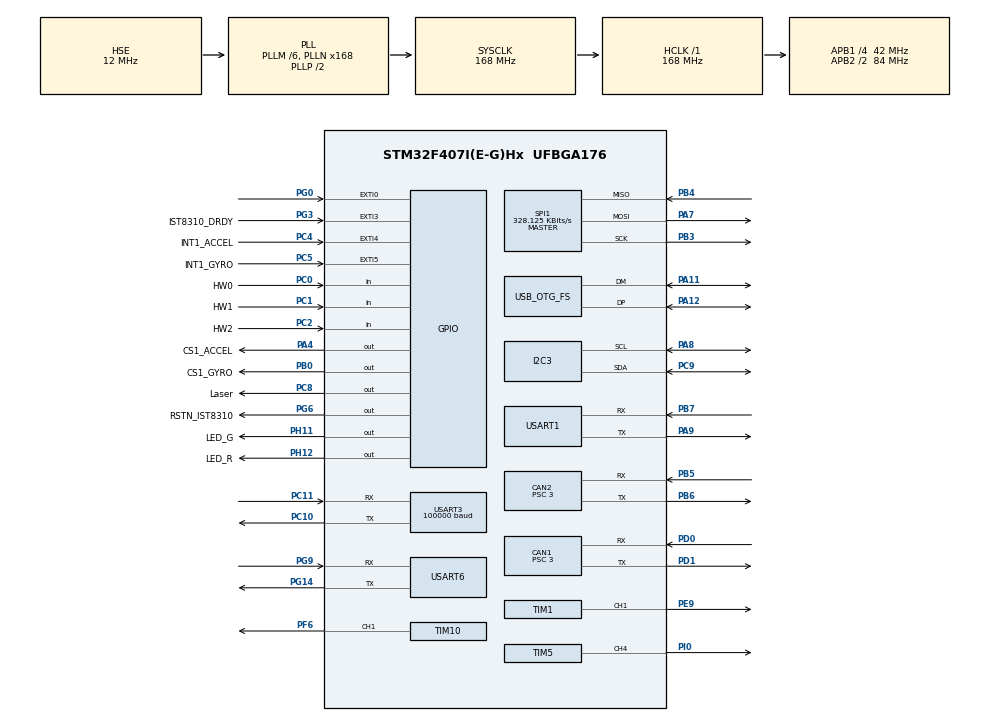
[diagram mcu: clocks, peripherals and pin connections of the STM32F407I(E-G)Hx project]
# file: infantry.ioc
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ADC1.Channel-0\#ChannelRegularConversion=ADC_CHANNEL_VREFINT
ADC1.NbrOfConversionFlag=1
ADC1.Rank-0\#ChannelRegularConversion=1
ADC1.SamplingTime-0\#ChannelRegularConversion=ADC_SAMPLETIME_3CYCLES
ADC1.master=1
CAN1.BS1=CAN_BS1_10TQ
CAN1.BS2=CAN_BS2_3TQ
CAN1.CalculateBaudRate=1000000
CAN1.CalculateTimeBit=1000
CAN1.CalculateTimeQuantum=71.42857142857143
CAN1.Prescaler=3
CAN1.TTCM=DISABLE
CAN2.BS1=CAN_BS1_10TQ
CAN2.BS2=CAN_BS2_3TQ
CAN2.CalculateBaudRate=1000000
CAN2.CalculateTimeBit=1000
CAN2.CalculateTimeQuantum=71.42857142857143
CAN2.Prescaler=3
CAN2.TTCM=DISABLE
Dma.Request0=USART3_RX
Dma.Request1=SPI1_RX
Dma.Request2=SPI1_TX
Dma.Request3=USART6_RX
Dma.Request4=USART1_RX
Dma.Request5=USART1_TX
Dma.Request6=USART6_TX
Dma.SPI1_RX.1.Direction=DMA_PERIPH_TO_MEMORY
Dma.SPI1_RX.1.FIFOMode=DMA_FIFOMODE_DISABLE
Dma.SPI1_RX.1.Instance=DMA2_Stream2
Dma.SPI1_RX.1.MemDataAlignment=DMA_MDATAALIGN_BYTE
Dma.SPI1_RX.1.MemInc=DMA_MINC_ENABLE
Dma.SPI1_RX.1.Mode=DMA_NORMAL
Dma.SPI1_RX.1.PeriphDataAlignment=DMA_PDATAALIGN_BYTE
Dma.SPI1_RX.1.PeriphInc=DMA_PINC_DISABLE
Dma.SPI1_RX.1.Priority=DMA_PRIORITY_VERY_HIGH
Dma.SPI1_TX.2.Direction=DMA_MEMORY_TO_PERIPH
Dma.SPI1_TX.2.FIFOMode=DMA_FIFOMODE_DISABLE
Dma.SPI1_TX.2.Instance=DMA2_Stream3
Dma.SPI1_TX.2.MemDataAlignment=DMA_MDATAALIGN_BYTE
Dma.SPI1_TX.2.MemInc=DMA_MINC_ENABLE
Dma.SPI1_TX.2.Mode=DMA_NORMAL
Dma.SPI1_TX.2.PeriphDataAlignment=DMA_PDATAALIGN_BYTE
Dma.SPI1_TX.2.PeriphInc=DMA_PINC_DISABLE
Dma.SPI1_TX.2.Priority=DMA_PRIORITY_HIGH
Dma.USART1_RX.4.Direction=DMA_PERIPH_TO_MEMORY
Dma.USART1_RX.4.FIFOMode=DMA_FIFOMODE_DISABLE
Dma.USART1_RX.4.Instance=DMA2_Stream5
Dma.USART1_RX.4.MemDataAlignment=DMA_MDATAALIGN_BYTE
Dma.USART1_RX.4.MemInc=DMA_MINC_ENABLE
Dma.USART1_RX.4.Mode=DMA_NORMAL
Dma.USART1_RX.4.PeriphDataAlignment=DMA_PDATAALIGN_BYTE
Dma.USART1_RX.4.PeriphInc=DMA_PINC_DISABLE
Dma.USART1_RX.4.Priority=DMA_PRIORITY_LOW
Dma.USART1_TX.5.Direction=DMA_MEMORY_TO_PERIPH
Dma.USART1_TX.5.FIFOMode=DMA_FIFOMODE_DISABLE
Dma.USART1_TX.5.Instance=DMA2_Stream7
Dma.USART1_TX.5.MemDataAlignment=DMA_MDATAALIGN_BYTE
Dma.USART1_TX.5.MemInc=DMA_MINC_ENABLE
Dma.USART1_TX.5.Mode=DMA_NORMAL
Dma.USART1_TX.5.PeriphDataAlignment=DMA_PDATAALIGN_BYTE
Dma.USART1_TX.5.PeriphInc=DMA_PINC_DISABLE
Dma.USART1_TX.5.Priority=DMA_PRIORITY_LOW
Dma.USART3_RX.0.Direction=DMA_PERIPH_TO_MEMORY
Dma.USART3_RX.0.FIFOMode=DMA_FIFOMODE_DISABLE
Dma.USART3_RX.0.Instance=DMA1_Stream1
Dma.USART3_RX.0.MemDataAlignment=DMA_MDATAALIGN_BYTE
Dma.USART3_RX.0.MemInc=DMA_MINC_ENABLE
Dma.USART3_RX.0.Mode=DMA_CIRCULAR
Dma.USART3_RX.0.PeriphDataAlignment=DMA_PDATAALIGN_BYTE
Dma.USART3_RX.0.PeriphInc=DMA_PINC_DISABLE
Dma.USART3_RX.0.Priority=DMA_PRIORITY_VERY_HIGH
Dma.USART6_RX.3.Direction=DMA_PERIPH_TO_MEMORY
Dma.USART6_RX.3.FIFOMode=DMA_FIFOMODE_DISABLE
Dma.USART6_RX.3.Instance=DMA2_Stream1
Dma.USART6_RX.3.MemDataAlignment=DMA_MDATAALIGN_BYTE
Dma.USART6_RX.3.MemInc=DMA_MINC_ENABLE
Dma.USART6_RX.3.Mode=DMA_CIRCULAR
Dma.USART6_RX.3.PeriphDataAlignment=DMA_PDATAALIGN_BYTE
Dma.USART6_RX.3.PeriphInc=DMA_PINC_DISABLE
Dma.USART6_RX.3.Priority=DMA_PRIORITY_VERY_HIGH
Dma.USART6_TX.6.Direction=DMA_MEMORY_TO_PERIPH
Dma.USART6_TX.6.FIFOMode=DMA_FIFOMODE_DISABLE
Dma.USART6_TX.6.Instance=DMA2_Stream6
Dma.USART6_TX.6.MemDataAlignment=DMA_MDATAALIGN_BYTE
Dma.USART6_TX.6.MemInc=DMA_MINC_ENABLE
Dma.USART6_TX.6.Mode=DMA_NORMAL
Dma.USART6_TX.6.PeriphDataAlignment=DMA_PDATAALIGN_BYTE
Dma.USART6_TX.6.PeriphInc=DMA_PINC_DISABLE
Dma.USART6_TX.6.Priority=DMA_PRIORITY_MEDIUM
FREERTOS.INCLUDE_eTaskGetState=1
FREERTOS.INCLUDE_pcTaskGetTaskName=1
FREERTOS.INCLUDE_uxTaskGetStackHighWaterMark=1
FREERTOS.INCLUDE_vTaskCleanUpResources=1
FREERTOS.INCLUDE_vTaskDelayUntil=1
FREERTOS.INCLUDE_xEventGroupSetBitFromISR=1
FREERTOS.INCLUDE_xQueueGetMutexHolder=1
FREERTOS.INCLUDE_xSemaphoreGetMutexHolder=1
FREERTOS.INCLUDE_xTaskAbortDelay=1
FREERTOS.INCLUDE_xTaskGetCurrentTaskHandle=1
FREERTOS.INCLUDE_xTaskGetHandle=1
FREERTOS.INCLUDE_xTimerPendFunctionCall=1
FREERTOS.Tasks01=defaultTask,0,128,StartDefaultTask,Default,NULL,Dynamic,NULL,NULL;ChassisTask,0,128,chassis_Task,As external,NULL,Dynamic,NULL,NULL;GimbalTask,0,128,gimbal_task,As external,NULL,Dynamic,NULL,NULL;SensorTask,2,128,Sensor_task,As external,NULL,Dynamic,NULL,NULL;ShootTask,0,128,shoot_task,As external,NULL,Dynamic,NULL,NULL;press_time,-1,128,PressTime,As external,NULL,Dynamic,NULL,NULL;AutoAimTask,0,128,auto_aim_task,As external,NULL,Dynamic,NULL,NULL;Supercap_Task,0,128,supercap_task,As external,NULL,Dynamic,NULL,NULL;RefereeUsartTas,0,256,referee_usart_task,As external,NULL,Dynamic,NULL,NULL;BTtask,0,128,BT_task,As external,NULL,Dynamic,NULL,NULL
FREERTOS.configUSE_TIMERS=1
I2C3.I2C_Mode=I2C_Fast
Mcu.Family=STM32F4
Mcu.Name=STM32F407I(E-G)Hx
Mcu.Package=UFBGA176
NVIC.CAN1_RX0_IRQn=true\:6\:0\:true\:false\:true\:true\:true\:true\:true
NVIC.CAN1_TX_IRQn=true\:6\:0\:true\:false\:true\:true\:true\:true\:true
NVIC.CAN2_RX1_IRQn=true\:6\:0\:true\:false\:true\:true\:true\:true\:true
NVIC.CAN2_TX_IRQn=true\:6\:0\:true\:false\:true\:true\:true\:true\:true
NVIC.DMA1_Stream1_IRQn=true\:5\:0\:true\:false\:true\:true\:false\:true\:true
NVIC.DMA2_Stream1_IRQn=true\:5\:0\:true\:false\:true\:true\:false\:true\:true
NVIC.DMA2_Stream2_IRQn=true\:5\:0\:true\:false\:true\:false\:false\:true\:true
NVIC.DMA2_Stream3_IRQn=true\:5\:0\:true\:false\:true\:true\:false\:true\:true
NVIC.DMA2_Stream5_IRQn=true\:5\:0\:true\:false\:true\:true\:false\:true\:true
NVIC.DMA2_Stream6_IRQn=true\:5\:0\:false\:false\:true\:true\:false\:true\:true
NVIC.DMA2_Stream7_IRQn=true\:5\:0\:false\:false\:true\:true\:false\:true\:true
NVIC.EXTI0_IRQn=true\:5\:0\:true\:false\:true\:true\:true\:true\:true
NVIC.EXTI3_IRQn=true\:5\:0\:true\:false\:true\:true\:true\:true\:true
NVIC.EXTI4_IRQn=true\:5\:0\:true\:false\:true\:true\:true\:true\:true
NVIC.EXTI9_5_IRQn=true\:5\:0\:false\:false\:true\:true\:true\:true\:true
NVIC.OTG_FS_IRQn=true\:5\:0\:true\:false\:true\:true\:false\:true\:true
NVIC.PriorityGroup=NVIC_PRIORITYGROUP_4
NVIC.TIM1_UP_TIM10_IRQn=true\:6\:0\:true\:false\:true\:true\:false\:true\:true
NVIC.TIM8_TRG_COM_TIM14_IRQn=true\:0\:0\:false\:false\:true\:false\:false\:true\:true
NVIC.TimeBase=TIM8_TRG_COM_TIM14_IRQn
NVIC.TimeBaseIP=TIM14
NVIC.USART6_IRQn=true\:6\:0\:true\:false\:true\:true\:true\:true\:true
PA11.Mode=Device_Only
PA11.Signal=USB_OTG_FS_DM
PA12.Mode=Device_Only
PA12.Signal=USB_OTG_FS_DP
PA13.Mode=Serial_Wire
PA13.Signal=SYS_JTMS-SWDIO
PA14.Mode=Serial_Wire
PA14.Signal=SYS_JTCK-SWCLK
PA4.GPIO_Label=CS1_ACCEL
PA4.GPIO_Speed=GPIO_SPEED_FREQ_HIGH
PA4.PinState=GPIO_PIN_SET
PA4.Signal=GPIO_Output
PA7.GPIO_PuPd=GPIO_NOPULL
PA7.Mode=Full_Duplex_Master
PA7.Signal=SPI1_MOSI
PA8.GPIO_Pu=GPIO_PULLUP
PA8.Mode=I2C
PA8.Signal=I2C3_SCL
PA9.Mode=Asynchronous
PA9.Signal=USART1_TX
PB0.GPIO_Label=CS1_GYRO
PB0.GPIO_Speed=GPIO_SPEED_FREQ_HIGH
PB0.PinState=GPIO_PIN_SET
PB0.Signal=GPIO_Output
PB3.GPIO_PuPd=GPIO_NOPULL
PB3.Mode=Full_Duplex_Master
PB3.Signal=SPI1_SCK
PB4.GPIO_PuPd=GPIO_NOPULL
PB4.Mode=Full_Duplex_Master
PB4.Signal=SPI1_MISO
PB5.Mode=CAN_Activate
PB5.Signal=CAN2_RX
PB6.Mode=CAN_Activate
PB6.Signal=CAN2_TX
PB7.Mode=Asynchronous
PB7.Signal=USART1_RX
PC0.GPIO_Label=HW0
PC0.GPIO_PuPd=GPIO_NOPULL
PC0.Signal=GPIO_Input
PC1.GPIO_Label=HW1
PC1.Signal=GPIO_Input
PC10.Mode=Asynchronous
PC10.Signal=USART3_TX
PC11.Mode=Asynchronous
PC11.Signal=USART3_RX
PC2.GPIO_Label=HW2
PC2.Signal=GPIO_Input
PC4.GPIO_Label=INT1_ACCEL
PC4.GPIO_PuPd=GPIO_PULLUP
PC4.Signal=GPXTI4
PC5.GPIO_Label=INT1_GYRO
PC5.GPIO_PuPd=GPIO_PULLUP
PC5.Signal=GPXTI5
PC7.Signal=S_TIM3_CH2
PC8.GPIO_Label=Laser
PC8.GPIO_Speed=GPIO_SPEED_FREQ_HIGH
PC8.PinState=GPIO_PIN_SET
PC8.Signal=GPIO_Output
PC9.GPIO_Pu=GPIO_PULLUP
PC9.Mode=I2C
PC9.Signal=I2C3_SDA
PD0.Mode=CAN_Activate
PD0.Signal=CAN1_RX
PD1.Mode=CAN_Activate
PD1.Signal=CAN1_TX
PE9.Signal=S_TIM1_CH1
PF6.GPIO_PuPd=GPIO_PULLUP
PF6.GPIO_Speed=GPIO_SPEED_FREQ_HIGH
PF6.Signal=S_TIM10_CH1
PG0.GPIO_PuPd=GPIO_PULLUP
PG0.Signal=GPXTI0
PG14.Mode=Asynchronous
PG14.Signal=USART6_TX
PG3.GPIO_Label=IST8310_DRDY
PG3.GPIO_PuPd=GPIO_PULLUP
PG3.Signal=GPXTI3
PG6.GPIO_Label=RSTN_IST8310
PG6.GPIO_ModeDefaultOutputPP=GPIO_MODE_OUTPUT_OD
PG6.GPIO_PuPd=GPIO_PULLUP
PG6.GPIO_Speed=GPIO_SPEED_FREQ_MEDIUM
PG6.PinState=GPIO_PIN_SET
PG6.Signal=GPIO_Output
PG9.Mode=Asynchronous
PG9.Signal=USART6_RX
PH0-OSC_IN.Mode=HSE-External-Oscillator
PH0-OSC_IN.Signal=RCC_OSC_IN
PH1-OSC_OUT.Mode=HSE-External-Oscillator
PH1-OSC_OUT.Signal=RCC_OSC_OUT
PH11.GPIO_Label=LED_G
PH11.PinState=GPIO_PIN_RESET
PH11.Signal=GPIO_Output
PH12.GPIO_Label=LED_R
PH12.GPIO_Speed=GPIO_SPEED_FREQ_HIGH
PH12.PinState=GPIO_PIN_SET
PH12.Signal=GPIO_Output
PI0.Signal=S_TIM5_CH4
ProjectManager.HeapSize=0x1000
ProjectManager.StackSize=0x3000
ProjectManager.TargetToolchain=MDK-ARM V5.27
RCC.48MHZClocksFreq_Value=48000000
RCC.AHBFreq_Value=168000000
RCC.APB1CLKDivider=RCC_HCLK_DIV4
RCC.APB1Freq_Value=42000000
RCC.APB1TimFreq_Value=84000000
RCC.APB2CLKDivider=RCC_HCLK_DIV2
RCC.APB2Freq_Value=84000000
RCC.APB2TimFreq_Value=168000000
RCC.CortexFreq_Value=168000000
RCC.HCLKFreq_Value=168000000
RCC.HSE_VALUE=12000000
RCC.HSI_VALUE=16000000
RCC.LSE_VALUE=32768
RCC.PLLM=6
RCC.PLLN=168
RCC.PLLQ=7
RCC.SYSCLKFreq_VALUE=168000000
RCC.SYSCLKSource=RCC_SYSCLKSOURCE_PLLCLK
RCC.VCOOutputFreq_Value=336000000
SH.S_TIM10_CH1.0=TIM10_CH1,PWM Generation1 CH1
SH.S_TIM1_CH1.0=TIM1_CH1,PWM Generation1 CH1
SH.S_TIM3_CH2.0=TIM3_CH2
SH.S_TIM5_CH4.0=TIM5_CH4,PWM Generation4 CH4
SPI1.BaudRatePrescaler=SPI_BAUDRATEPRESCALER_256
SPI1.CLKPhase=SPI_PHASE_2EDGE
SPI1.CLKPolarity=SPI_POLARITY_HIGH
SPI1.CalculateBaudRate=328.125 KBits/s
SPI1.Direction=SPI_DIRECTION_2LINES
SPI1.Mode=SPI_MODE_MASTER
SPI1.VirtualType=VM_MASTER
TIM1.AutoReloadPreload=TIM_AUTORELOAD_PRELOAD_ENABLE
TIM1.Channel-PWM\ Generation1\ CH1=TIM_CHANNEL_1
TIM1.Period=19999
TIM1.Prescaler=167
TIM10.Channel=TIM_CHANNEL_1
TIM10.Period=4999
TIM3.Period=4999
TIM5.Channel-PWM\ Generation4\ CH4=TIM_CHANNEL_4
TIM5.Period=1999
TIM5.Prescaler=899
USART1.VirtualMode=VM_ASYNC
USART3.BaudRate=100000
USART3.Mode=MODE_RX
USART3.Parity=PARITY_EVEN
USART3.VirtualMode=VM_ASYNC
USART6.VirtualMode=VM_ASYNC
USB_DEVICE.CLASS_NAME_FS=CDC
USB_DEVICE.VirtualMode-CDC_FS=Cdc
USB_DEVICE.VirtualModeFS=Cdc_FS
USB_OTG_FS.VirtualMode=Device_Only
VP_ADC1_TempSens_Input.Mode=IN-TempSens
VP_ADC1_Vref_Input.Mode=IN-Vrefint
VP_FREERTOS_VS_CMSIS_V1.Mode=CMSIS_V1
VP_SYS_VS_tim14.Mode=TIM14
VP_TIM10_VS_ClockSourceINT.Mode=Enable_Timer
VP_TIM1_VS_ClockSourceINT.Mode=Internal
VP_TIM3_VS_ClockSourceINT.Mode=Internal
VP_TIM5_VS_ClockSourceINT.Mode=Internal
VP_USB_DEVICE_VS_USB_DEVICE_CDC_FS.Mode=CDC_FS
board=custom

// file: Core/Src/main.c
/* USER CODE BEGIN Header */
/**
  ******************************************************************************
  * @file           : main.c
  * @brief          : Main program body
  ******************************************************************************
  * @attention
  *
  * <h2><center>&copy; Copyright (c) 2021 STMicroelectronics.
  * All rights reserved.</center></h2>
  *
  * This software component is licensed by ST under Ultimate Liberty license
  * SLA0044, the "License"; You may not use this file except in compliance with
  * the License. You may obtain a copy of the License at:
  *                             www.st.com/SLA0044
  *
  ******************************************************************************
  */
/* USER CODE END Header */
#include "main.h"
#include "cmsis_os.h"
#include "adc.h"
#include "can.h"
#include "dma.h"
#include "i2c.h"
#include "spi.h"
#include "tim.h"
#include "usart.h"
#include "usb_device.h"
#include "gpio.h"

/* USER CODE BEGIN Includes */
#include "can_receive.h"
#include "remote.h"
#include "referee.h"
#include "referee_usart_task.h"
#include "bsp_delay.h"
/* USER CODE END Includes */

void SystemClock_Config(void);
void MX_FREERTOS_Init(void);

/* USER CODE BEGIN 0 */
extern fifo_s_t referee_fifo;
extern uint8_t referee_fifo_buf[REFEREE_FIFO_BUF_LENGTH];
extern uint8_t uart6_buf[2][USART_RX_BUF_LENGHT];
/* USER CODE END 0 */

int main(void)
{

  /* MCU Configuration--------------------------------------------------------*/

  /* Reset of all peripherals, Initializes the Flash interface and the Systick. */
  HAL_Init();

  /* Configure the system clock */
  SystemClock_Config();

  /* Initialize all configured peripherals */
  MX_GPIO_Init();
  MX_DMA_Init();
  MX_CAN1_Init();
  MX_CAN2_Init();
  MX_SPI1_Init();
  MX_TIM3_Init();
  MX_TIM5_Init();
  MX_USART1_UART_Init();
  MX_USART3_UART_Init();
  MX_I2C3_Init();
  MX_USART6_UART_Init();
  MX_TIM10_Init();
  MX_ADC1_Init();
  MX_TIM1_Init();
  /* USER CODE BEGIN 2 */

  CAN1_Init();
	CAN2_Init();
	HAL_Delay(500);//暂取在遥控器接收初始化前给一定延时，以确保接收器先上电后再开始接收
  HAL_UART_Receive_DMA(&huart3,teledata_rx,sizeof(teledata_rx));

  init_referee_struct_data();
  fifo_s_init(&referee_fifo, referee_fifo_buf, REFEREE_FIFO_BUF_LENGTH);
  uart6_init(uart6_buf[0],uart6_buf[1],USART_RX_BUF_LENGHT);

  delay_init();

  HAL_TIM_PWM_Start(&htim1,TIM_CHANNEL_1);
  HAL_TIM_PWM_Start(&htim3,TIM_CHANNEL_2);
	HAL_TIM_PWM_Start(&htim10,TIM_CHANNEL_1);
  /* USER CODE END 2 */

  /* Call init function for freertos objects (in freertos.c) */
  MX_FREERTOS_Init();

  /* Start scheduler */
  osKernelStart();

  /* We should never get here as control is now taken by the scheduler */
  /* Infinite loop */
  while (1)
  {

  }
}

void SystemClock_Config(void)
{
  RCC_OscInitTypeDef RCC_OscInitStruct = {0};
  RCC_ClkInitTypeDef RCC_ClkInitStruct = {0};

  /** Configure the main internal regulator output voltage
  */
  __HAL_RCC_PWR_CLK_ENABLE();
  __HAL_PWR_VOLTAGESCALING_CONFIG(PWR_REGULATOR_VOLTAGE_SCALE1);

  /** Initializes the RCC Oscillators according to the specified parameters
  * in the RCC_OscInitTypeDef structure.
  */
  RCC_OscInitStruct.OscillatorType = RCC_OSCILLATORTYPE_HSE;
  RCC_OscInitStruct.HSEState = RCC_HSE_ON;
  RCC_OscInitStruct.PLL.PLLState = RCC_PLL_ON;
  RCC_OscInitStruct.PLL.PLLSource = RCC_PLLSOURCE_HSE;
  RCC_OscInitStruct.PLL.PLLM = 6;
  RCC_OscInitStruct.PLL.PLLN = 168;
  RCC_OscInitStruct.PLL.PLLP = RCC_PLLP_DIV2;
  RCC_OscInitStruct.PLL.PLLQ = 7;
  if (HAL_RCC_OscConfig(&RCC_OscInitStruct) != HAL_OK)
  {
    Error_Handler();
  }

  /** Initializes the CPU, AHB and APB buses clocks
  */
  RCC_ClkInitStruct.ClockType = RCC_CLOCKTYPE_HCLK|RCC_CLOCKTYPE_SYSCLK
                              |RCC_CLOCKTYPE_PCLK1|RCC_CLOCKTYPE_PCLK2;
  RCC_ClkInitStruct.SYSCLKSource = RCC_SYSCLKSOURCE_PLLCLK;
  RCC_ClkInitStruct.AHBCLKDivider = RCC_SYSCLK_DIV1;
  RCC_ClkInitStruct.APB1CLKDivider = RCC_HCLK_DIV4;
  RCC_ClkInitStruct.APB2CLKDivider = RCC_HCLK_DIV2;

  if (HAL_RCC_ClockConfig(&RCC_ClkInitStruct, FLASH_LATENCY_5) != HAL_OK)
  {
    Error_Handler();
  }
}

void HAL_TIM_PeriodElapsedCallback(TIM_HandleTypeDef *htim)
{
  if (htim->Instance == TIM14) {
    HAL_IncTick();
  }
}

void Error_Handler(void)
{
  __disable_irq();
  while (1)
  {
  }
}

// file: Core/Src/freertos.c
/* USER CODE BEGIN Header */
/**
  ******************************************************************************
  * File Name          : freertos.c
  * Description        : Code for freertos applications
  ******************************************************************************
  * @attention
  *
  * <h2><center>&copy; Copyright (c) 2021 STMicroelectronics.
  * All rights reserved.</center></h2>
  *
  * This software component is licensed by ST under Ultimate Liberty license
  * SLA0044, the "License"; You may not use this file except in compliance with
  * the License. You may obtain a copy of the License at:
  *                             www.st.com/SLA0044
  *
  ******************************************************************************
  */
/* USER CODE END Header */

#include "FreeRTOS.h"
#include "task.h"
#include "main.h"
#include "cmsis_os.h"

osThreadId defaultTaskHandle;
osThreadId ChassisTaskHandle;
osThreadId GimbalTaskHandle;
osThreadId SensorTaskHandle;
osThreadId ShootTaskHandle;
osThreadId press_timeHandle;
osThreadId AutoAimTaskHandle;
osThreadId Supercap_TaskHandle;
osThreadId RefereeUsartTasHandle;
osThreadId BTtaskHandle;

void StartDefaultTask(void const * argument);
extern void chassis_Task(void const * argument);
extern void gimbal_task(void const * argument);
extern void Sensor_task(void const * argument);
extern void shoot_task(void const * argument);
extern void PressTime(void const * argument);
extern void auto_aim_task(void const * argument);
extern void supercap_task(void const * argument);
extern void referee_usart_task(void const * argument);
extern void BT_task(void const * argument);

extern void MX_USB_DEVICE_Init(void);
void MX_FREERTOS_Init(void); /* (MISRA C 2004 rule 8.1) */

/* GetIdleTaskMemory prototype (linked to static allocation support) */
void vApplicationGetIdleTaskMemory( StaticTask_t **ppxIdleTaskTCBBuffer, StackType_t **ppxIdleTaskStackBuffer, uint32_t *pulIdleTaskStackSize );

/* GetTimerTaskMemory prototype (linked to static allocation support) */
void vApplicationGetTimerTaskMemory( StaticTask_t **ppxTimerTaskTCBBuffer, StackType_t **ppxTimerTaskStackBuffer, uint32_t *pulTimerTaskStackSize );

/* USER CODE BEGIN GET_IDLE_TASK_MEMORY */
static StaticTask_t xIdleTaskTCBBuffer;
static StackType_t xIdleStack[configMINIMAL_STACK_SIZE];

void vApplicationGetIdleTaskMemory( StaticTask_t **ppxIdleTaskTCBBuffer, StackType_t **ppxIdleTaskStackBuffer, uint32_t *pulIdleTaskStackSize )
{
  *ppxIdleTaskTCBBuffer = &xIdleTaskTCBBuffer;
  *ppxIdleTaskStackBuffer = &xIdleStack[0];
  *pulIdleTaskStackSize = configMINIMAL_STACK_SIZE;
  /* place for user code */
}
/* USER CODE END GET_IDLE_TASK_MEMORY */

/* USER CODE BEGIN GET_TIMER_TASK_MEMORY */
static StaticTask_t xTimerTaskTCBBuffer;
static StackType_t xTimerStack[configTIMER_TASK_STACK_DEPTH];

void vApplicationGetTimerTaskMemory( StaticTask_t **ppxTimerTaskTCBBuffer, StackType_t **ppxTimerTaskStackBuffer, uint32_t *pulTimerTaskStackSize )
{
  *ppxTimerTaskTCBBuffer = &xTimerTaskTCBBuffer;
  *ppxTimerTaskStackBuffer = &xTimerStack[0];
  *pulTimerTaskStackSize = configTIMER_TASK_STACK_DEPTH;
  /* place for user code */
}
/* USER CODE END GET_TIMER_TASK_MEMORY */

void MX_FREERTOS_Init(void) {

  /* Create the thread(s) */
  /* definition and creation of defaultTask */
  osThreadDef(defaultTask, StartDefaultTask, osPriorityNormal, 0, 128);
  defaultTaskHandle = osThreadCreate(osThread(defaultTask), NULL);

  /* definition and creation of ChassisTask */
  osThreadDef(ChassisTask, chassis_Task, osPriorityNormal, 0, 128);
  ChassisTaskHandle = osThreadCreate(osThread(ChassisTask), NULL);

  /* definition and creation of GimbalTask */
  osThreadDef(GimbalTask, gimbal_task, osPriorityNormal, 0, 128);
  GimbalTaskHandle = osThreadCreate(osThread(GimbalTask), NULL);

  /* definition and creation of SensorTask */
  osThreadDef(SensorTask, Sensor_task, osPriorityHigh, 0, 128);
  SensorTaskHandle = osThreadCreate(osThread(SensorTask), NULL);

  /* definition and creation of ShootTask */
  osThreadDef(ShootTask, shoot_task, osPriorityNormal, 0, 128);
  ShootTaskHandle = osThreadCreate(osThread(ShootTask), NULL);

  /* definition and creation of press_time */
  osThreadDef(press_time, PressTime, osPriorityBelowNormal, 0, 128);
  press_timeHandle = osThreadCreate(osThread(press_time), NULL);

  /* definition and creation of AutoAimTask */
  osThreadDef(AutoAimTask, auto_aim_task, osPriorityNormal, 0, 128);
  AutoAimTaskHandle = osThreadCreate(osThread(AutoAimTask), NULL);

  /* definition and creation of Supercap_Task */
  osThreadDef(Supercap_Task, supercap_task, osPriorityNormal, 0, 128);
  Supercap_TaskHandle = osThreadCreate(osThread(Supercap_Task), NULL);

  /* definition and creation of RefereeUsartTas */
  osThreadDef(RefereeUsartTas, referee_usart_task, osPriorityNormal, 0, 256);
  RefereeUsartTasHandle = osThreadCreate(osThread(RefereeUsartTas), NULL);

  /* definition and creation of BTtask */
  osThreadDef(BTtask, BT_task, osPriorityNormal, 0, 128);
  BTtaskHandle = osThreadCreate(osThread(BTtask), NULL);

}

void StartDefaultTask(void const * argument)
{
  /* init code for USB_DEVICE */
  MX_USB_DEVICE_Init();
  for(;;)
  {
    osDelay(1);
  }
}
